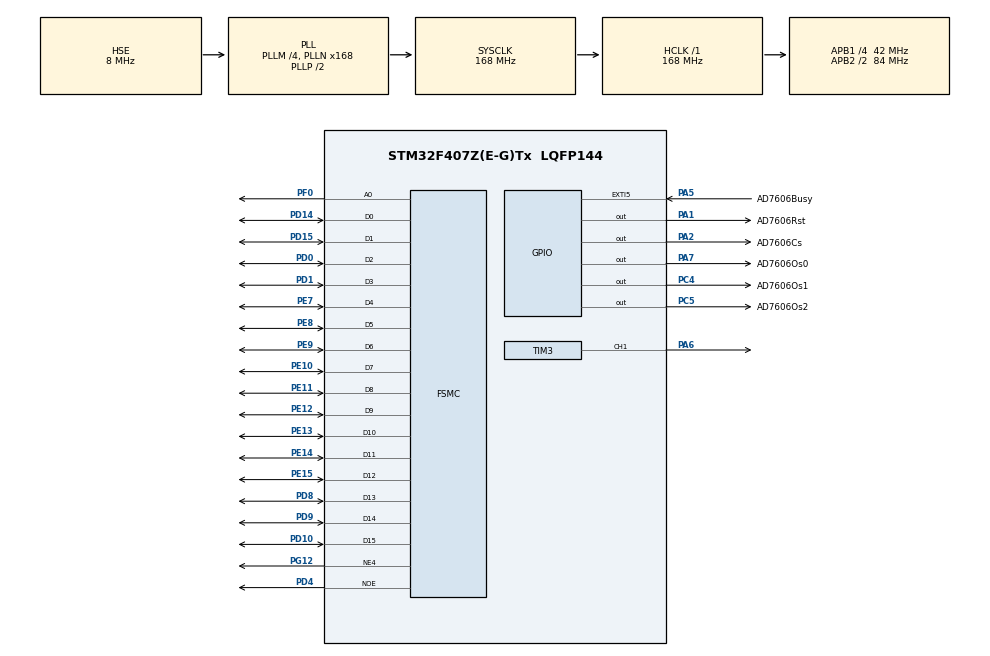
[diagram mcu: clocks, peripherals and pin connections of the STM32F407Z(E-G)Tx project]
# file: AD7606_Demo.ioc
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FSMC.AddressSetupTime4=3
FSMC.BusTurnAroundDuration4=0
FSMC.DataSetupTime4=4
Mcu.Family=STM32F4
Mcu.Name=STM32F407Z(E-G)Tx
Mcu.Package=LQFP144
NVIC.EXTI9_5_IRQn=true\:0\:0\:false\:false\:true\:true\:true\:true
NVIC.PriorityGroup=NVIC_PRIORITYGROUP_4
NVIC.TIM4_IRQn=true\:0\:0\:false\:false\:true\:true\:true\:true
PA1.GPIO_Label=AD7606Rst
PA1.Signal=GPIO_Output
PA13.Mode=Serial_Wire
PA13.Signal=SYS_JTMS-SWDIO
PA14.Mode=Serial_Wire
PA14.Signal=SYS_JTCK-SWCLK
PA2.GPIO_Label=AD7606Cs
PA2.Signal=GPIO_Output
PA5.GPIO_Label=AD7606Busy
PA5.GPIO_ModeDefaultEXTI=GPIO_MODE_IT_FALLING
PA5.GPIO_PuPd=GPIO_PULLUP
PA5.Signal=GPXTI5
PA6.Signal=S_TIM3_CH1
PA7.GPIO_Label=AD7606Os0
PA7.Signal=GPIO_Output
PC14-OSC32_IN.Mode=LSE-External-Oscillator
PC14-OSC32_IN.Signal=RCC_OSC32_IN
PC15-OSC32_OUT.Mode=LSE-External-Oscillator
PC15-OSC32_OUT.Signal=RCC_OSC32_OUT
PC4.GPIO_Label=AD7606Os1
PC4.Signal=GPIO_Output
PC5.GPIO_Label=AD7606Os2
PC5.Signal=GPIO_Output
PD0.Signal=FSMC_D2_DA2
PD1.Signal=FSMC_D3_DA3
PD10.Signal=FSMC_D15_DA15
PD14.Signal=FSMC_D0_DA0
PD15.Signal=FSMC_D1_DA1
PD4.Signal=FSMC_NOE
PD8.Signal=FSMC_D13_DA13
PD9.Signal=FSMC_D14_DA14
PE10.Signal=FSMC_D7_DA7
PE11.Signal=FSMC_D8_DA8
PE12.Signal=FSMC_D9_DA9
PE13.Signal=FSMC_D10_DA10
PE14.Signal=FSMC_D11_DA11
PE15.Signal=FSMC_D12_DA12
PE7.Signal=FSMC_D4_DA4
PE8.Signal=FSMC_D5_DA5
PE9.Signal=FSMC_D6_DA6
PF0.Signal=FSMC_A0
PG12.Mode=NorPsramChipSelect4_4
PG12.Signal=FSMC_NE4
PH0-OSC_IN.Mode=HSE-External-Oscillator
PH0-OSC_IN.Signal=RCC_OSC_IN
PH1-OSC_OUT.Mode=HSE-External-Oscillator
PH1-OSC_OUT.Signal=RCC_OSC_OUT
ProjectManager.HeapSize=0x200
ProjectManager.StackSize=0x400
ProjectManager.TargetToolchain=STM32CubeIDE
RCC.48MHZClocksFreq_Value=84000000
RCC.AHBFreq_Value=168000000
RCC.APB1CLKDivider=RCC_HCLK_DIV4
RCC.APB1Freq_Value=42000000
RCC.APB1TimFreq_Value=84000000
RCC.APB2CLKDivider=RCC_HCLK_DIV2
RCC.APB2Freq_Value=84000000
RCC.APB2TimFreq_Value=168000000
RCC.CortexFreq_Value=168000000
RCC.HCLKFreq_Value=168000000
RCC.HSE_VALUE=8000000
RCC.HSI_VALUE=16000000
RCC.PLLM=4
RCC.PLLN=168
RCC.PLLSourceVirtual=RCC_PLLSOURCE_HSE
RCC.SYSCLKFreq_VALUE=168000000
RCC.SYSCLKSource=RCC_SYSCLKSOURCE_PLLCLK
RCC.VCOOutputFreq_Value=336000000
SH.FSMC_A0.0=FSMC_A0,1b-a4
SH.FSMC_D0_DA0.0=FSMC_D0,16b-d4
SH.FSMC_D10_DA10.0=FSMC_D10,16b-d4
SH.FSMC_D11_DA11.0=FSMC_D11,16b-d4
SH.FSMC_D12_DA12.0=FSMC_D12,16b-d4
SH.FSMC_D13_DA13.0=FSMC_D13,16b-d4
SH.FSMC_D14_DA14.0=FSMC_D14,16b-d4
SH.FSMC_D15_DA15.0=FSMC_D15,16b-d4
SH.FSMC_D1_DA1.0=FSMC_D1,16b-d4
SH.FSMC_D2_DA2.0=FSMC_D2,16b-d4
SH.FSMC_D3_DA3.0=FSMC_D3,16b-d4
SH.FSMC_D4_DA4.0=FSMC_D4,16b-d4
SH.FSMC_D5_DA5.0=FSMC_D5,16b-d4
SH.FSMC_D6_DA6.0=FSMC_D6,16b-d4
SH.FSMC_D7_DA7.0=FSMC_D7,16b-d4
SH.FSMC_D8_DA8.0=FSMC_D8,16b-d4
SH.FSMC_D9_DA9.0=FSMC_D9,16b-d4
SH.FSMC_NOE.0=FSMC_NOE,Rom4
SH.S_TIM3_CH1.0=TIM3_CH1,PWM Generation1 CH1
TIM3.AutoReloadPreload=TIM_AUTORELOAD_PRELOAD_ENABLE
TIM3.Channel-PWM\ Generation1\ CH1=TIM_CHANNEL_1
TIM3.Period=10-1
TIM3.Prescaler=42-1
TIM3.Pulse-PWM\ Generation1\ CH1=5
TIM3.TIM_MasterOutputTrigger=TIM_TRGO_UPDATE
TIM4.Period=10-1
TIM4.Prescaler=42-1
TIM4.TIM_MasterOutputTrigger=TIM_TRGO_UPDATE
VP_TIM3_VS_ClockSourceINT.Mode=Internal
VP_TIM4_VS_ClockSourceINT.Mode=Internal
board=custom

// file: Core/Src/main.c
/* USER CODE BEGIN Header */
/**
 ******************************************************************************
 * @file           : main.c
 * @brief          : Main program body
 ******************************************************************************
 * @attention
 *
 * Copyright (c) 2023 STMicroelectronics.
 * All rights reserved.
 *
 * This software is licensed under terms that can be found in the LICENSE file
 * in the root directory of this software component.
 * If no LICENSE file comes with this software, it is provided AS-IS.
 *
 ******************************************************************************
 */
/* USER CODE END Header */
#include "main.h"
#include "tim.h"
#include "gpio.h"
#include "fsmc.h"

/* USER CODE BEGIN Includes */
#include "arm_math.h"
#include "ad7606.h"
#define pi 3.14159265358979f
/* USER CODE END Includes */

void SystemClock_Config(void);

/* USER CODE BEGIN 0 */
uint16_t cnt = 1;
uint16_t page2_i = 0;
float32_t SINvalue = 0;
uint32_t SINvar[2] = { };

int16_t RawData[8] = { };
uint16_t ch1[1];
int16_t ch1_vol = 0;
/* USER CODE END 0 */

int main(void)
{

  /* MCU Configuration--------------------------------------------------------*/

  /* Reset of all peripherals, Initializes the Flash interface and the Systick. */
  HAL_Init();

  /* Configure the system clock */
  SystemClock_Config();

  /* Initialize all configured peripherals */
  MX_GPIO_Init();
  MX_TIM3_Init();
  MX_FSMC_Init();
  MX_TIM4_Init();
  /* USER CODE BEGIN 2 */
	AD7606_Init();
	HAL_TIM_PWM_Start(&htim3, TIM_CHANNEL_1);
	HAL_TIM_Base_Start_IT(&htim4);
  /* USER CODE END 2 */

  /* Infinite loop */
  /* USER CODE BEGIN WHILE */
	while (1) {

//		ch1_vol = (RawData[0] * 10000) / 32766;
//		ch1_vol = RawData[0]  * 0.3051850947599719;
//		HAL_Delay(1);
//	  HAL_GPIO_TogglePin(GPIOA, GPIO_PIN_1);
//		SINvalue = arm_sin_f32(cnt / 360.0 * 2 * pi);
////		SINvar[0] = SINvalue; //整数�?
////		SINvar[1] = (SINvalue - SINvar[0]) * 10000; //小数点后三位
//
//		cnt++;
//		if (cnt >= 360) {
//			cnt = 1;
//		}
    /* USER CODE END WHILE */

	}
}

void SystemClock_Config(void)
{
  RCC_OscInitTypeDef RCC_OscInitStruct = {0};
  RCC_ClkInitTypeDef RCC_ClkInitStruct = {0};

  /** Configure the main internal regulator output voltage
  */
  __HAL_RCC_PWR_CLK_ENABLE();
  __HAL_PWR_VOLTAGESCALING_CONFIG(PWR_REGULATOR_VOLTAGE_SCALE1);

  /** Initializes the RCC Oscillators according to the specified parameters
  * in the RCC_OscInitTypeDef structure.
  */
  RCC_OscInitStruct.OscillatorType = RCC_OSCILLATORTYPE_HSE;
  RCC_OscInitStruct.HSEState = RCC_HSE_ON;
  RCC_OscInitStruct.PLL.PLLState = RCC_PLL_ON;
  RCC_OscInitStruct.PLL.PLLSource = RCC_PLLSOURCE_HSE;
  RCC_OscInitStruct.PLL.PLLM = 4;
  RCC_OscInitStruct.PLL.PLLN = 168;
  RCC_OscInitStruct.PLL.PLLP = RCC_PLLP_DIV2;
  RCC_OscInitStruct.PLL.PLLQ = 4;
  if (HAL_RCC_OscConfig(&RCC_OscInitStruct) != HAL_OK)
  {
    Error_Handler();
  }

  /** Initializes the CPU, AHB and APB buses clocks
  */
  RCC_ClkInitStruct.ClockType = RCC_CLOCKTYPE_HCLK|RCC_CLOCKTYPE_SYSCLK
                              |RCC_CLOCKTYPE_PCLK1|RCC_CLOCKTYPE_PCLK2;
  RCC_ClkInitStruct.SYSCLKSource = RCC_SYSCLKSOURCE_PLLCLK;
  RCC_ClkInitStruct.AHBCLKDivider = RCC_SYSCLK_DIV1;
  RCC_ClkInitStruct.APB1CLKDivider = RCC_HCLK_DIV4;
  RCC_ClkInitStruct.APB2CLKDivider = RCC_HCLK_DIV2;

  if (HAL_RCC_ClockConfig(&RCC_ClkInitStruct, FLASH_LATENCY_5) != HAL_OK)
  {
    Error_Handler();
  }
}

/* USER CODE BEGIN 4 */

void HAL_GPIO_EXTI_Callback(uint16_t GPIO_Pin)
{
//  if(GPIO_Pin == BUSY_Pin)
  {
//	  AD7606_ISR();

	  RawData[0]=AD7606_RESULT();
	  RawData[1]=AD7606_RESULT();
	  RawData[2]=AD7606_RESULT();
	  RawData[3]=AD7606_RESULT();
	  RawData[4]=AD7606_RESULT();
	  RawData[5]=AD7606_RESULT();
	  RawData[6]=AD7606_RESULT();
	  RawData[7]=AD7606_RESULT();
  }
}

void HAL_TIM_PeriodElapsedCallback(TIM_HandleTypeDef *htim)
{
	if(htim->Instance == TIM4)
	{
//		AD7606_ReadFifo(&ch1[0]);
//		ch1_vol *= 0.3051850947599719;
		ch1_vol = RawData[0]  * 0.3051850947599719;
	}
}
/* USER CODE END 4 */

void Error_Handler(void)
{
	__disable_irq();
	while (1) {
	}
}
